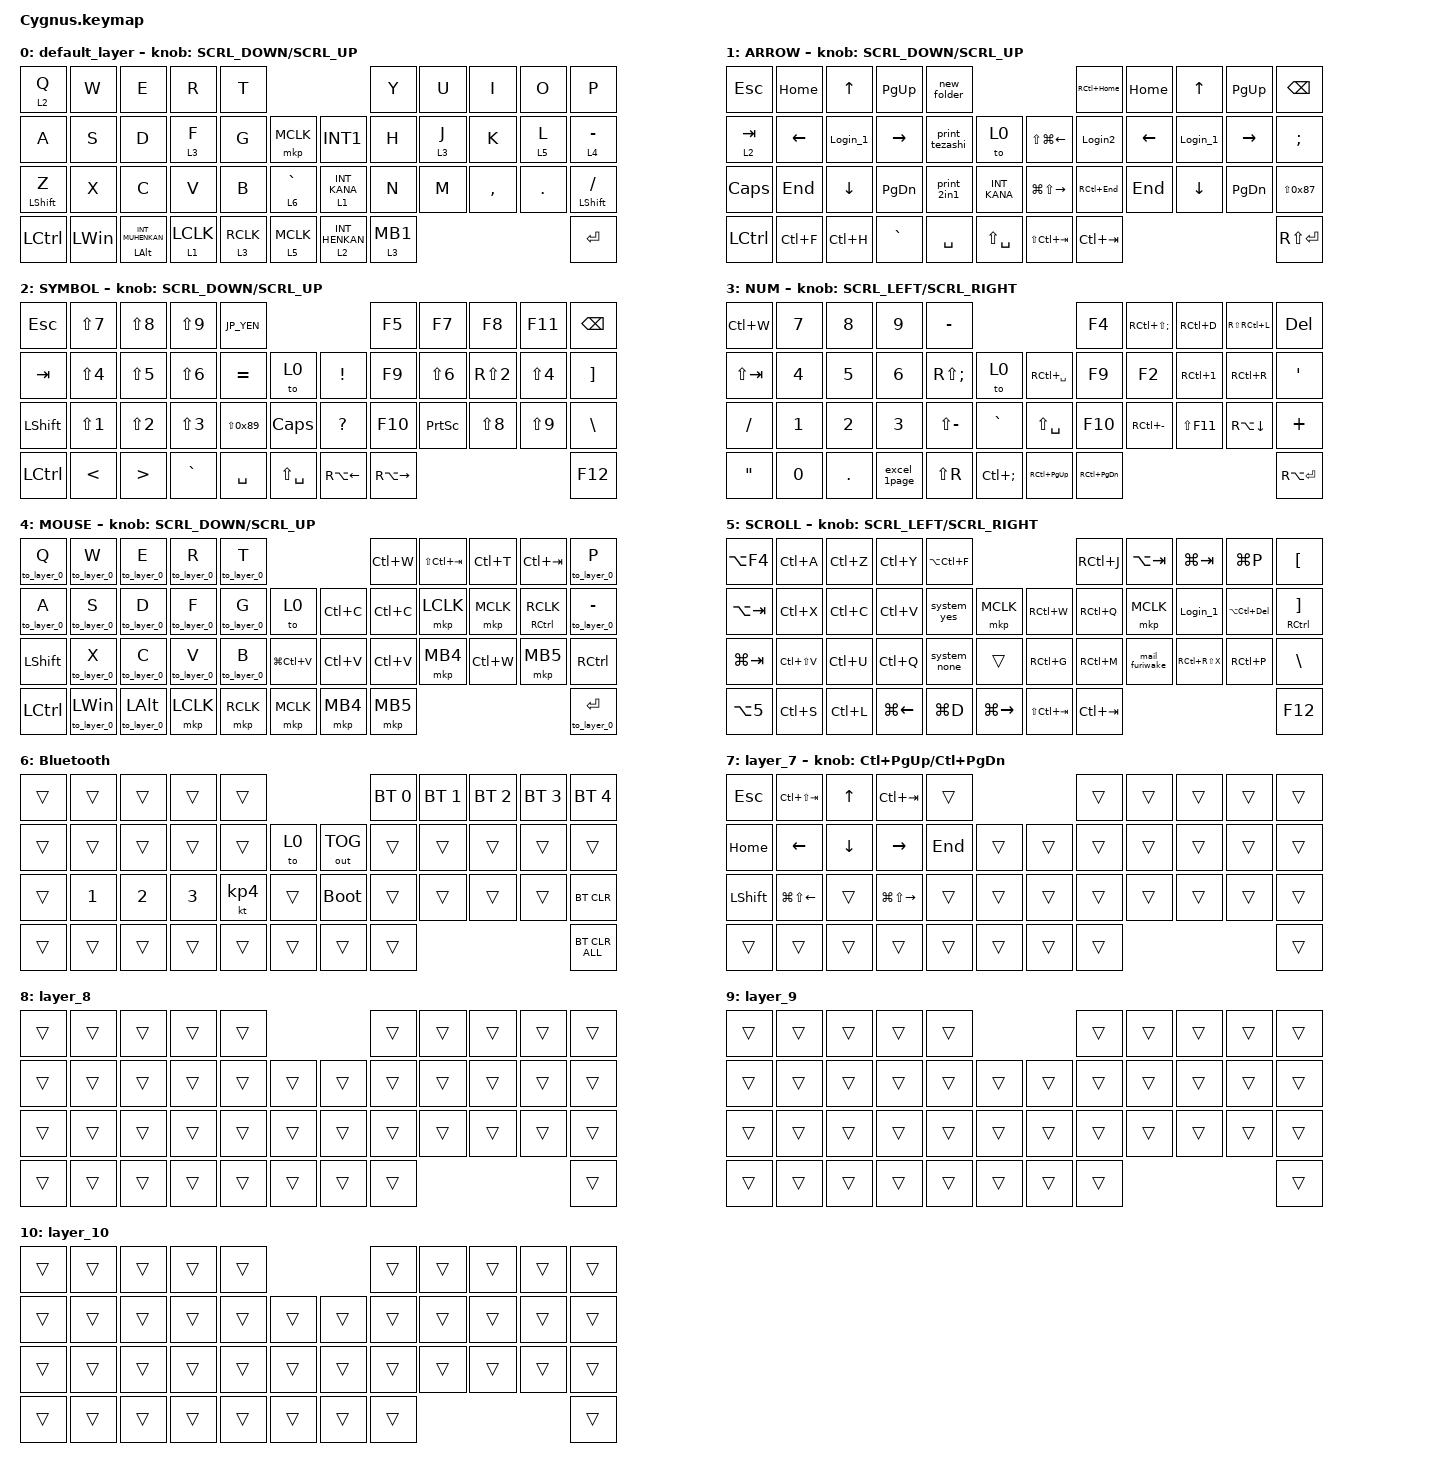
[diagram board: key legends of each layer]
#define ZMK_POINTING_DEFAULT_SCRL_VAL 120    // default: 10
#define JP_DQUOTE       AT                // "
#define JP_AMPERSAND    CARET             // &
#define JP_QUOTE        AMPERSAND         // '
#define JP_EQUAL        UNDER             // =
#define JP_CARET        EQUAL             // ^
#define JP_YEN          0x89              // ¥
#define JP_PLUS         COLON             // +
#define JP_TILDE        PLUS              // ~
#define JP_PIPE         LS(0x89)          // |
#define JP_AT           LEFT_BRACKET      // @
#define JP_COLON        SINGLE_QUOTE      // :
#define JP_ASTERISK     DOUBLE_QUOTES     // *
#define JP_BACKQUOTE    LEFT_BRACE        // `
#define JP_UNDERSCORE   LS(0x87)          // _
#define JP_LBRACKET     RIGHT_BRACKET     // [
#define JP_RBRACKET     BACKSLASH         // ]

#include <behaviors.dtsi>
#include <dt-bindings/zmk/bt.h>
#include <dt-bindings/zmk/keys.h>
#include <dt-bindings/zmk/outputs.h>
#include <dt-bindings/zmk/pointing.h>

#define MOUSE 4
#define SCROLL 5
#define NUM 6

&mt {
    flavor = "balanced";
    quick-tap-ms = <0>;
    tapping-term-ms = <260>;
};

&lt { tapping-term-ms = <260>; };

/ {
    combos {
        compatible = "zmk,combos";

        double_quotation {
            bindings = <&kp DOUBLE_QUOTES>;
            key-positions = <20 21>;
        };
    };

    macros {
        to_layer_0: to_layer_0 {
            compatible = "zmk,behavior-macro-one-param";
            #binding-cells = <1>;
            bindings = <&to 0 &macro_param_1to1 &kp MACRO_PLACEHOLDER>;
            label = "TO_LAYER_0";
        };

        Login_1: Login_1 {
            compatible = "zmk,behavior-macro";
            #binding-cells = <0>;
            bindings = <&none &kp LS(M) &kp O &kp K &kp K &kp U &kp N &kp N8 &kp N2 &kp LS(P) &kp O &kp K &kp E &kp G &kp O>;
            label = "LOGIN_1";
            wait-ms = <0>;
            tap-ms = <1>;
        };

        Login2: Login2 {
            compatible = "zmk,behavior-macro";
            #binding-cells = <0>;
            bindings = <&none &kp N0 &kp N1 &kp N4 &kp N5 &kp N3 &kp N6>;
            label = "LOGIN2";
            wait-ms = <0>;
            tap-ms = <1>;
        };

        system_yes: system_yes {
            compatible = "zmk,behavior-macro";
            #binding-cells = <0>;
            bindings = <&kp DOWN_ARROW &kp DOWN_ARROW &kp TAB>;
            label = "SYSTEM_YES";
        };

        system_none: system_none {
            compatible = "zmk,behavior-macro";
            #binding-cells = <0>;
            bindings = <&kp END &kp TAB>;
            label = "SYSTEM_NONE";
        };

        print_tezashi: print_tezashi {
            compatible = "zmk,behavior-macro";
            #binding-cells = <0>;
            bindings = <&kp LC(TAB) &kp END>;
            label = "PRINT_TEZASHI";
        };

        print_2in1: print_2in1 {
            compatible = "zmk,behavior-macro";
            #binding-cells = <0>;
            bindings = <&kp LA(G) &kp DOWN_ARROW>;
            label = "PRINT_2IN1";
        };

        new_folder: new_folder {
            compatible = "zmk,behavior-macro";
            #binding-cells = <0>;
            bindings = <&mkp RCLK &kp W &kp F &kp LC(V)>;
            label = "NEW_FOLDER";
        };

        excel_1page: excel_1page {
            compatible = "zmk,behavior-macro";
            #binding-cells = <0>;
            bindings = <&kp LEFT_ALT &kp P &kp H &kp DOWN_ARROW>;
            label = "EXCEL_1PAGE";
        };

        mail_furiwake: mail_furiwake {
            compatible = "zmk,behavior-macro";
            #binding-cells = <0>;
            bindings = <&kp LEFT_ALT &kp H &kp Q &kp S>;
            label = "MAIL_FURIWAKE";
        };

        mul_mark: mul_mark {
            compatible = "zmk,behavior-macro";
            #binding-cells = <0>;
            bindings = <&kp ASTERISK>;
            label = "MUL_MARK";
        };

        div_mark: div_mark {
            compatible = "zmk,behavior-macro";
            #binding-cells = <0>;
            bindings = <&kp SLASH>;
            label = "DIV_MARK";
        };
    };

    behaviors {
        lt_to_layer_0: lt_to_layer_0 {
            compatible = "zmk,behavior-hold-tap";
            label = "LAYER_TAP_TO_0";
            bindings = <&mo>, <&to_layer_0>;

            #binding-cells = <2>;
            tapping-term-ms = <200>;
        };

        ROTATE: ROTATE {
            compatible = "zmk,behavior-sensor-rotate-var";
            label = "ROTATE";
            #sensor-binding-cells = <2>;
            bindings = <&msc>, <&msc>;

            tap-ms = <20>;
        };

        layer_mouse: layer_mouse {
            compatible = "zmk,behavior-hold-tap";
            label = "LAYER_MOUSE";
            bindings = <&mo>, <&mkp>;

            #binding-cells = <2>;
            tapping-term-ms = <160>;
            flavor = "tap-preferred";
        };

        mod_mouse: mod_mouse {
            compatible = "zmk,behavior-hold-tap";
            label = "MOD_MOUSE";
            bindings = <&kp>, <&mkp>;

            #binding-cells = <2>;
            tapping-term-ms = <160>;
            flavor = "tap-preferred";
        };
    };

    keymap {
        compatible = "zmk,keymap";

        default_layer {
            bindings = <
&lt 2 Q           &kp W         &kp E                      &kp R                &kp T                                                           &kp Y               &kp U    &kp I      &kp O    &kp P
&kp A             &kp S         &kp D                      &lt 3 F              &kp G                &mkp MCLK                &kp INT1          &kp H               &lt 3 J  &kp K      &lt 5 L  &lt 4 MINUS
&mt LEFT_SHIFT Z  &kp X         &kp C                      &kp V                &kp B                &lt 6 GRAVE              &lt 1 INT_KANA    &kp N               &kp M    &kp COMMA  &kp DOT  &mt LEFT_SHIFT SLASH
&kp LCTRL         &kp LEFT_WIN  &mt LEFT_ALT INT_MUHENKAN  &layer_mouse 1 LCLK  &layer_mouse 3 RCLK  &layer_mouse 5 MCLK      &lt 2 INT_HENKAN  &layer_mouse 3 MB1                               &kp RET
            >;

            sensor-bindings = <&ROTATE SCRL_DOWN SCRL_UP>;
        };

        ARROW {
            bindings = <
&kp ESCAPE    &kp HOME        &kp UP_ARROW  &kp PAGE_UP      &new_folder                                                 &kp RC(HOME)  &kp HOME        &kp UP_ARROW    &kp PAGE_UP      &kp BACKSPACE
&lt 2 TAB     &kp LEFT_ARROW  &Login_1      &kp RIGHT_ARROW  &print_tezashi  &to 0              &kp LS(LG(LEFT_ARROW))   &Login2       &kp LEFT_ARROW  &Login_1        &kp RIGHT_ARROW  &kp SEMICOLON
&kp CAPSLOCK  &kp END         &kp DOWN      &kp PAGE_DOWN    &print_2in1     &kp INT_KANA       &kp LG(LS(RIGHT_ARROW))  &kp RC(END)   &kp END         &kp DOWN_ARROW  &kp PAGE_DOWN    &kp JP_UNDERSCORE
&kp LCTRL     &kp LC(F)       &kp LC(H)     &kp GRAVE        &kp SPACE       &kp LS(SPACE)      &kp LS(LC(TAB))          &kp LC(TAB)                                                    &kp RS(ENTER)
            >;

            sensor-bindings = <&ROTATE SCRL_DOWN SCRL_UP>;
        };

        SYMBOL {
            bindings = <
&kp ESC         &kp LS(N7)        &kp LS(N8)        &kp LS(N9)        &kp JP_YEN                                           &kp F5               &kp F7            &kp F8            &kp F11           &kp BACKSPACE
&kp TAB         &kp LS(NUMBER_4)  &kp LS(N5)        &kp LS(NUMBER_6)  &kp JP_CARET  &to 0              &kp EXCLAMATION     &kp F9               &kp LS(NUMBER_6)  &kp RS(NUMBER_2)  &kp LS(NUMBER_4)  &kp JP_LBRACKET
&kp LEFT_SHIFT  &kp LS(NUMBER_1)  &kp LS(NUMBER_2)  &kp LS(NUMBER_3)  &kp JP_PIPE   &kp CAPS           &kp QUESTION        &kp F10              &kp PRINTSCREEN   &kp LS(N8)        &kp LS(N9)        &kp JP_RBRACKET
&kp LCTRL       &kp LESS_THAN     &kp GREATER_THAN  &kp GRAVE         &kp SPACE     &kp LS(SPACE)      &kp RA(LEFT_ARROW)  &kp RA(RIGHT_ARROW)                                                        &kp F12
            >;

            sensor-bindings = <&ROTATE SCRL_DOWN SCRL_UP>;
        };

        NUM {
            bindings = <
&kp LC(W)        &kp N7  &kp N8      &kp N9        &kp MINUS                                                  &kp F4             &kp RC(LS(SEMICOLON))  &kp RC(D)         &kp RS(RC(L))       &kp DELETE
&kp LS(TAB)      &kp N4  &kp N5      &kp N6        &kp RS(SEMICOLON)  &to 0                  &kp RC(SPACE)    &kp F9             &kp F2                 &kp RC(NUMBER_1)  &kp RC(R)           &kp JP_COLON
&kp SLASH        &kp N1  &kp N2      &kp N3        &kp LS(MINUS)      &kp GRAVE              &kp LS(SPACE)    &kp F10            &kp RC(MINUS)          &kp LS(F11)       &kp RA(DOWN_ARROW)  &kp JP_TILDE
&kp JP_ASTERISK  &kp N0  &kp PERIOD  &excel_1page  &kp LS(R)          &kp LC(SEMICOLON)      &kp RC(PAGE_UP)  &kp RC(PAGE_DOWN)                                                               &kp RA(ENTER)
            >;

            sensor-bindings = <&ROTATE SCRL_LEFT SCRL_RIGHT>;
        };

        MOUSE {
            bindings = <
&to_layer_0 Q   &to_layer_0 W         &to_layer_0 E         &to_layer_0 R  &to_layer_0 T                                &kp LC(W)  &kp LS(LC(TAB))  &kp LC(T)  &kp LC(TAB)            &to_layer_0 P
&to_layer_0 A   &to_layer_0 S         &to_layer_0 D         &to_layer_0 F  &to_layer_0 G  &to 0              &kp LC(C)  &kp LC(C)  &mkp LCLK        &mkp MCLK  &mod_mouse RCTRL RCLK  &to_layer_0 MINUS
&kp LEFT_SHIFT  &to_layer_0 X         &to_layer_0 C         &to_layer_0 V  &to_layer_0 B  &kp LG(LC(V))      &kp LC(V)  &kp LC(V)  &mkp MB4         &kp LC(W)  &mkp MB5               &kp RCTRL
&kp LCTRL       &to_layer_0 LEFT_WIN  &to_layer_0 LEFT_ALT  &mkp LCLK      &mkp RCLK      &mkp MCLK          &mkp MB4   &mkp MB5                                                      &to_layer_0 RET
            >;

            sensor-bindings = <&ROTATE SCRL_DOWN SCRL_UP>;
        };

        SCROLL {
            bindings = <
&kp LA(F4)   &kp LC(A)      &kp LC(Z)  &kp LC(Y)           &kp LA(LC(F))                                            &kp RC(J)    &kp LA(TAB)     &kp LG(TAB)    &kp LG(P)           &kp JP_AT
&kp LA(TAB)  &kp LC(X)      &kp LC(C)  &kp LC(V)           &system_yes    &mkp MCLK                &kp RC(W)        &kp RC(Q)    &mkp MCLK       &Login_1       &kp LA(LC(DELETE))  &mt RCTRL JP_LBRACKET
&kp LG(TAB)  &kp LC(LS(V))  &kp LC(U)  &kp LC(Q)           &system_none   &trans                   &kp RC(G)        &kp RC(M)    &mail_furiwake  &kp RC(RS(X))  &kp RC(P)           &kp JP_RBRACKET
&kp LA(N5)   &kp LC(S)      &kp LC(L)  &kp LG(LEFT_ARROW)  &kp LG(D)      &kp LG(RIGHT_ARROW)      &kp LS(LC(TAB))  &kp LC(TAB)                                                     &kp F12
            >;

            sensor-bindings = <&ROTATE SCRL_LEFT SCRL_RIGHT>;
        };

        Bluetooth {
            bindings = <
&trans  &trans        &trans        &trans        &trans                               &bt BT_SEL 0  &bt BT_SEL 1  &bt BT_SEL 2  &bt BT_SEL 3  &bt BT_SEL 4
&trans  &trans        &trans        &trans        &trans     &to 0       &out OUT_TOG  &trans        &trans        &trans        &trans        &trans
&trans  &kp NUMBER_1  &kp NUMBER_2  &kp NUMBER_3  &kt KP_N4  &trans      &bootloader   &trans        &trans        &trans        &trans        &bt BT_CLR
&trans  &trans        &trans        &trans        &trans     &trans      &trans        &trans                                                  &bt BT_CLR_ALL
            >;
        };

        layer_7 {
            bindings = <
&kp ESCAPE      &kp LC(LS(TAB))         &kp UP_ARROW    &kp LC(TAB)              &trans                       &trans  &trans  &trans  &trans  &trans
&kp HOME        &kp LEFT_ARROW          &kp DOWN_ARROW  &kp RIGHT_ARROW          &kp END  &trans      &trans  &trans  &trans  &trans  &trans  &trans
&kp LEFT_SHIFT  &kp LG(LS(LEFT_ARROW))  &trans          &kp LG(LS(RIGHT_ARROW))  &trans   &trans      &trans  &trans  &trans  &trans  &trans  &trans
&trans          &trans                  &trans          &trans                   &trans   &trans      &trans  &trans                          &trans
            >;

            sensor-bindings = <&inc_dec_kp LC(PAGE_UP) LC(PAGE_DOWN)>;
        };

        layer_8 {
            bindings = <
&trans  &trans  &trans  &trans  &trans                      &trans  &trans  &trans  &trans  &trans
&trans  &trans  &trans  &trans  &trans  &trans      &trans  &trans  &trans  &trans  &trans  &trans
&trans  &trans  &trans  &trans  &trans  &trans      &trans  &trans  &trans  &trans  &trans  &trans
&trans  &trans  &trans  &trans  &trans  &trans      &trans  &trans                          &trans
            >;
        };

        layer_9 {
            bindings = <
&trans  &trans  &trans  &trans  &trans                      &trans  &trans  &trans  &trans  &trans
&trans  &trans  &trans  &trans  &trans  &trans      &trans  &trans  &trans  &trans  &trans  &trans
&trans  &trans  &trans  &trans  &trans  &trans      &trans  &trans  &trans  &trans  &trans  &trans
&trans  &trans  &trans  &trans  &trans  &trans      &trans  &trans                          &trans
            >;
        };

        layer_10 {
            bindings = <
&trans  &trans  &trans  &trans  &trans                      &trans  &trans  &trans  &trans  &trans
&trans  &trans  &trans  &trans  &trans  &trans      &trans  &trans  &trans  &trans  &trans  &trans
&trans  &trans  &trans  &trans  &trans  &trans      &trans  &trans  &trans  &trans  &trans  &trans
&trans  &trans  &trans  &trans  &trans  &trans      &trans  &trans                          &trans
            >;
        };
    };
};
